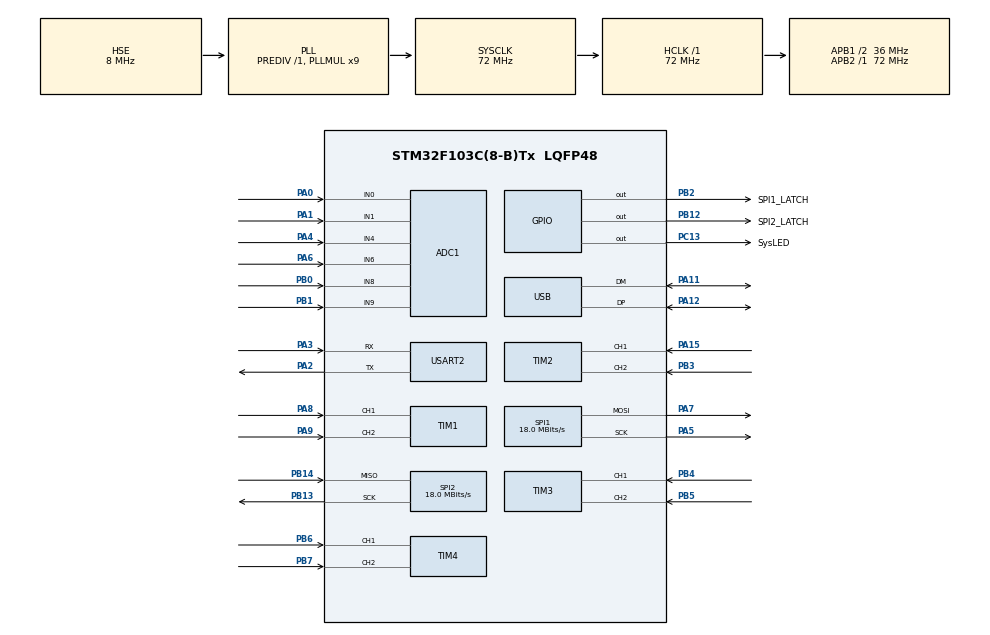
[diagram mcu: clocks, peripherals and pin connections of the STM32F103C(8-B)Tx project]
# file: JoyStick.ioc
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ADC1.Channel-0\#ChannelRegularConversion=ADC_CHANNEL_0
ADC1.Channel-1\#ChannelRegularConversion=ADC_CHANNEL_1
ADC1.Channel-2\#ChannelRegularConversion=ADC_CHANNEL_4
ADC1.Channel-3\#ChannelRegularConversion=ADC_CHANNEL_6
ADC1.Channel-4\#ChannelRegularConversion=ADC_CHANNEL_8
ADC1.Channel-5\#ChannelRegularConversion=ADC_CHANNEL_9
ADC1.ContinuousConvMode=ENABLE
ADC1.NbrOfConversion=6
ADC1.NbrOfConversionFlag=1
ADC1.Rank-0\#ChannelRegularConversion=1
ADC1.Rank-1\#ChannelRegularConversion=2
ADC1.Rank-2\#ChannelRegularConversion=3
ADC1.Rank-3\#ChannelRegularConversion=4
ADC1.Rank-4\#ChannelRegularConversion=5
ADC1.Rank-5\#ChannelRegularConversion=6
ADC1.SamplingTime-0\#ChannelRegularConversion=ADC_SAMPLETIME_41CYCLES_5
ADC1.SamplingTime-1\#ChannelRegularConversion=ADC_SAMPLETIME_41CYCLES_5
ADC1.SamplingTime-2\#ChannelRegularConversion=ADC_SAMPLETIME_41CYCLES_5
ADC1.SamplingTime-3\#ChannelRegularConversion=ADC_SAMPLETIME_41CYCLES_5
ADC1.SamplingTime-4\#ChannelRegularConversion=ADC_SAMPLETIME_41CYCLES_5
ADC1.SamplingTime-5\#ChannelRegularConversion=ADC_SAMPLETIME_41CYCLES_5
ADC1.master=1
Dma.ADC1.0.Direction=DMA_PERIPH_TO_MEMORY
Dma.ADC1.0.Instance=DMA1_Channel1
Dma.ADC1.0.MemDataAlignment=DMA_MDATAALIGN_HALFWORD
Dma.ADC1.0.MemInc=DMA_MINC_ENABLE
Dma.ADC1.0.Mode=DMA_NORMAL
Dma.ADC1.0.PeriphDataAlignment=DMA_PDATAALIGN_HALFWORD
Dma.ADC1.0.PeriphInc=DMA_PINC_DISABLE
Dma.ADC1.0.Priority=DMA_PRIORITY_LOW
Dma.Request0=ADC1
FREERTOS.Tasks01=defaultTask,24,128,StartDefaultTask,Default,NULL,Dynamic,NULL,NULL
FREERTOS.configUSE_NEWLIB_REENTRANT=1
Mcu.Family=STM32F1
Mcu.Name=STM32F103C(8-B)Tx
Mcu.Package=LQFP48
NVIC.ADC1_2_IRQn=true\:5\:0\:false\:false\:true\:true\:true\:true\:true
NVIC.DMA1_Channel1_IRQn=true\:5\:0\:false\:false\:true\:true\:false\:true\:true
NVIC.PriorityGroup=NVIC_PRIORITYGROUP_4
NVIC.USB_LP_CAN1_RX0_IRQn=true\:5\:0\:false\:false\:true\:true\:false\:true\:true
PA0-WKUP.Signal=ADCx_IN0
PA1.Signal=ADCx_IN1
PA11.Mode=Device
PA11.Signal=USB_DM
PA12.Mode=Device
PA12.Signal=USB_DP
PA13.Mode=Serial_Wire
PA13.Signal=SYS_JTMS-SWDIO
PA14.Mode=Serial_Wire
PA14.Signal=SYS_JTCK-SWCLK
PA15.Signal=S_TIM2_CH1_ETR
PA2.Mode=Asynchronous
PA2.Signal=USART2_TX
PA3.Mode=Asynchronous
PA3.Signal=USART2_RX
PA4.Signal=ADCx_IN4
PA5.Mode=TX_Only_Simplex_Unidirect_Master
PA5.Signal=SPI1_SCK
PA6.Signal=ADCx_IN6
PA7.Mode=TX_Only_Simplex_Unidirect_Master
PA7.Signal=SPI1_MOSI
PA8.Signal=S_TIM1_CH1
PA9.Signal=S_TIM1_CH2
PB0.Signal=ADCx_IN8
PB1.Signal=ADCx_IN9
PB12.GPIO_Label=SPI2_LATCH
PB12.GPIO_ModeDefaultOutputPP=GPIO_MODE_OUTPUT_PP
PB12.GPIO_PuPd=GPIO_PULLDOWN
PB12.GPIO_Speed=GPIO_SPEED_FREQ_HIGH
PB12.Signal=GPIO_Output
PB13.Mode=RX_Only_Simplex_Unidirect_Master
PB13.Signal=SPI2_SCK
PB14.Mode=RX_Only_Simplex_Unidirect_Master
PB14.Signal=SPI2_MISO
PB2.GPIO_Label=SPI1_LATCH
PB2.GPIO_PuPd=GPIO_PULLDOWN
PB2.GPIO_Speed=GPIO_SPEED_FREQ_HIGH
PB2.Signal=GPIO_Output
PB3.Signal=S_TIM2_CH2
PB4.Signal=S_TIM3_CH1
PB5.Signal=S_TIM3_CH2
PB6.Signal=S_TIM4_CH1
PB7.Signal=S_TIM4_CH2
PC13-TAMPER-RTC.GPIO_Label=SysLED
PC13-TAMPER-RTC.GPIO_ModeDefaultOutputPP=GPIO_MODE_OUTPUT_PP
PC13-TAMPER-RTC.GPIO_PuPd=GPIO_PULLDOWN
PC13-TAMPER-RTC.GPIO_Speed=GPIO_SPEED_FREQ_HIGH
PC13-TAMPER-RTC.Signal=GPIO_Output
PD0-OSC_IN.Mode=HSE-External-Oscillator
PD0-OSC_IN.Signal=RCC_OSC_IN
PD1-OSC_OUT.Mode=HSE-External-Oscillator
PD1-OSC_OUT.Signal=RCC_OSC_OUT
ProjectManager.HeapSize=0x200
ProjectManager.StackSize=0x400
ProjectManager.TargetToolchain=CMake
RCC.ADCPresc=RCC_ADCPCLK2_DIV6
RCC.AHBFreq_Value=72000000
RCC.APB1CLKDivider=RCC_HCLK_DIV2
RCC.APB1Freq_Value=36000000
RCC.APB1TimFreq_Value=72000000
RCC.APB2Freq_Value=72000000
RCC.APB2TimFreq_Value=72000000
RCC.HCLKFreq_Value=72000000
RCC.PLLMUL=RCC_PLL_MUL9
RCC.SYSCLKFreq_VALUE=72000000
RCC.SYSCLKSource=RCC_SYSCLKSOURCE_PLLCLK
RCC.USBFreq_Value=48000000
RCC.USBPrescaler=RCC_USBCLKSOURCE_PLL_DIV1_5
SH.ADCx_IN0.0=ADC1_IN0,IN0
SH.ADCx_IN1.0=ADC1_IN1,IN1
SH.ADCx_IN4.0=ADC1_IN4,IN4
SH.ADCx_IN6.0=ADC1_IN6,IN6
SH.ADCx_IN8.0=ADC1_IN8,IN8
SH.ADCx_IN9.0=ADC1_IN9,IN9
SH.S_TIM1_CH1.0=TIM1_CH1,Encoder_Interface
SH.S_TIM1_CH2.0=TIM1_CH2,Encoder_Interface
SH.S_TIM2_CH1_ETR.0=TIM2_CH1,Encoder_Interface
SH.S_TIM2_CH2.0=TIM2_CH2,Encoder_Interface
SH.S_TIM3_CH1.0=TIM3_CH1,Encoder_Interface
SH.S_TIM3_CH2.0=TIM3_CH2,Encoder_Interface
SH.S_TIM4_CH1.0=TIM4_CH1,Encoder_Interface
SH.S_TIM4_CH2.0=TIM4_CH2,Encoder_Interface
SPI1.BaudRatePrescaler=SPI_BAUDRATEPRESCALER_4
SPI1.CalculateBaudRate=18.0 MBits/s
SPI1.Direction=SPI_DIRECTION_2LINES
SPI1.Mode=SPI_MODE_MASTER
SPI1.VirtualType=VM_MASTER
SPI2.BaudRatePrescaler=SPI_BAUDRATEPRESCALER_2
SPI2.CalculateBaudRate=18.0 MBits/s
SPI2.Direction=SPI_DIRECTION_2LINES_RXONLY
SPI2.Mode=SPI_MODE_MASTER
SPI2.VirtualType=VM_MASTER
USART2.VirtualMode=VM_ASYNC
USB_DEVICE.CLASS_NAME_FS=CUSTOM_HID
USB_DEVICE.USBD_CUSTOMHID_OUTREPORT_BUF_SIZE=12
USB_DEVICE.USBD_CUSTOM_HID_REPORT_DESC_SIZE=40
USB_DEVICE.VirtualMode=CustomHid
USB_DEVICE.VirtualModeFS=Custom_Hid_FS
VP_FREERTOS_VS_CMSIS_V2.Mode=CMSIS_V2
VP_USB_DEVICE_VS_USB_DEVICE_CUSTOM_HID_FS.Mode=CUSTOM_HID_FS
board=custom

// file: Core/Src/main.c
/* USER CODE BEGIN Header */
/**
  ******************************************************************************
  * @file           : main.c
  * @brief          : Main program body
  ******************************************************************************
  * @attention
  *
  * Copyright (c) 2026 STMicroelectronics.
  * All rights reserved.
  *
  * This software is licensed under terms that can be found in the LICENSE file
  * in the root directory of this software component.
  * If no LICENSE file comes with this software, it is provided AS-IS.
  *
  ******************************************************************************
  */
/* USER CODE END Header */
#include "main.h"
#include "cmsis_os.h"
#include "adc.h"
#include "dma.h"
#include "spi.h"
#include "tim.h"
#include "usart.h"
#include "usb_device.h"
#include "gpio.h"

/* USER CODE BEGIN PV */
extern volatile uint8_t joystick_adc_ready;
/* USER CODE END PV */

void SystemClock_Config(void);
void MX_FREERTOS_Init(void);

int main(void)
{

  /* MCU Configuration--------------------------------------------------------*/

  /* Reset of all peripherals, Initializes the Flash interface and the Systick. */
  HAL_Init();

  /* Configure the system clock */
  SystemClock_Config();

  /* Initialize all configured peripherals */
  MX_GPIO_Init();
  MX_DMA_Init();
  MX_ADC1_Init();
  MX_SPI1_Init();
  MX_SPI2_Init();
  MX_TIM1_Init();
  MX_TIM2_Init();
  MX_TIM3_Init();
  MX_TIM4_Init();
  MX_USART2_UART_Init();
  /* USER CODE BEGIN 2 */
  /* Start ADC conversion with DMA */
  if (Joystick_ADC_Start() != HAL_OK)
  {
    Error_Handler();
  }

  /* Start all encoder timers */
  HAL_TIM_Encoder_Start(&htim1, TIM_CHANNEL_ALL);
  HAL_TIM_Encoder_Start(&htim2, TIM_CHANNEL_ALL);
  HAL_TIM_Encoder_Start(&htim3, TIM_CHANNEL_ALL);
  HAL_TIM_Encoder_Start(&htim4, TIM_CHANNEL_ALL);

  /* USB 须在 FreeRTOS 启动前初始化，确保主机可立即枚举设备 */
  MX_USB_DEVICE_Init();

  /* USER CODE END 2 */

  /* Init scheduler */
  osKernelInitialize();  /* Call init function for freertos objects (in cmsis_os2.c) */
  MX_FREERTOS_Init();

  /* Start scheduler */
  osKernelStart();

  /* We should never get here as control is now taken by the scheduler */

  /* USER CODE BEGIN WHILE */
  while (1)
  {
    /* This code will never execute after osKernelStart() */
  }
  /* USER CODE END WHILE */

}

void SystemClock_Config(void)
{
  RCC_OscInitTypeDef RCC_OscInitStruct = {0};
  RCC_ClkInitTypeDef RCC_ClkInitStruct = {0};
  RCC_PeriphCLKInitTypeDef PeriphClkInit = {0};

  /** Initializes the RCC Oscillators according to the specified parameters
  * in the RCC_OscInitTypeDef structure.
  */
  RCC_OscInitStruct.OscillatorType = RCC_OSCILLATORTYPE_HSE;
  RCC_OscInitStruct.HSEState = RCC_HSE_ON;
  RCC_OscInitStruct.HSEPredivValue = RCC_HSE_PREDIV_DIV1;
  RCC_OscInitStruct.HSIState = RCC_HSI_ON;
  RCC_OscInitStruct.PLL.PLLState = RCC_PLL_ON;
  RCC_OscInitStruct.PLL.PLLSource = RCC_PLLSOURCE_HSE;
  RCC_OscInitStruct.PLL.PLLMUL = RCC_PLL_MUL9;
  if (HAL_RCC_OscConfig(&RCC_OscInitStruct) != HAL_OK)
  {
    Error_Handler();
  }

  /** Initializes the CPU, AHB and APB buses clocks
  */
  RCC_ClkInitStruct.ClockType = RCC_CLOCKTYPE_HCLK|RCC_CLOCKTYPE_SYSCLK
                              |RCC_CLOCKTYPE_PCLK1|RCC_CLOCKTYPE_PCLK2;
  RCC_ClkInitStruct.SYSCLKSource = RCC_SYSCLKSOURCE_PLLCLK;
  RCC_ClkInitStruct.AHBCLKDivider = RCC_SYSCLK_DIV1;
  RCC_ClkInitStruct.APB1CLKDivider = RCC_HCLK_DIV2;
  RCC_ClkInitStruct.APB2CLKDivider = RCC_HCLK_DIV1;

  if (HAL_RCC_ClockConfig(&RCC_ClkInitStruct, FLASH_LATENCY_2) != HAL_OK)
  {
    Error_Handler();
  }
  PeriphClkInit.PeriphClockSelection = RCC_PERIPHCLK_ADC|RCC_PERIPHCLK_USB;
  PeriphClkInit.AdcClockSelection = RCC_ADCPCLK2_DIV6;
  PeriphClkInit.UsbClockSelection = RCC_USBCLKSOURCE_PLL_DIV1_5;
  if (HAL_RCCEx_PeriphCLKConfig(&PeriphClkInit) != HAL_OK)
  {
    Error_Handler();
  }
}

void Error_Handler(void)
{
  __disable_irq();
  while (1)
  {
  }
}

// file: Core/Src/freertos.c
/* USER CODE BEGIN Header */
/**
  ******************************************************************************
  * File Name          : freertos.c
  * Description        : Code for freertos applications
  ******************************************************************************
  * @attention
  *
  * Copyright (c) 2026 STMicroelectronics.
  * All rights reserved.
  *
  * This software is licensed under terms that can be found in the LICENSE file
  * in the root directory of this software component.
  * If no LICENSE file comes with this software, it is provided AS-IS.
  *
  ******************************************************************************
  */
/* USER CODE END Header */

#include "FreeRTOS.h"
#include "task.h"
#include "main.h"
#include "cmsis_os.h"

/* USER CODE BEGIN Includes */
#include "joystick_rtos.h"
#include "adc.h"
#include "spi.h"
#include "tim.h"
#include "usbd_def.h"
/* USER CODE END Includes */

/* USER CODE BEGIN Variables */

/* Queue Handles */
osMessageQueueId_t adcQueueHandle = NULL;
osMessageQueueId_t encoderQueueHandle = NULL;
osMessageQueueId_t buttonQueueHandle = NULL;
osMessageQueueId_t ledQueueHandle = NULL;

/* Thread Handles */
osThreadId_t adcTaskHandle = NULL;
osThreadId_t encoderTaskHandle = NULL;
osThreadId_t buttonTaskHandle = NULL;
osThreadId_t ledTaskHandle = NULL;
osThreadId_t hidTaskHandle = NULL;

/* USER CODE END Variables */
/* Definitions for defaultTask */
osThreadId_t defaultTaskHandle;
const osThreadAttr_t defaultTask_attributes = {
  .name = "defaultTask",
  .stack_size = 128 * 4,
  .priority = (osPriority_t) osPriorityNormal,
};

/* Definitions for ADC Task */
const osThreadAttr_t adcTask_attributes = {
  .name = "ADC",
  .stack_size = ADC_TASK_STACK_SIZE * 4,
  .priority = (osPriority_t) ADC_TASK_PRIORITY,
};

/* Definitions for Encoder Task */
const osThreadAttr_t encoderTask_attributes = {
  .name = "Encoder",
  .stack_size = ENCODER_TASK_STACK_SIZE * 4,
  .priority = (osPriority_t) ENCODER_TASK_PRIORITY,
};

/* Definitions for Button Task */
const osThreadAttr_t buttonTask_attributes = {
  .name = "Button",
  .stack_size = BUTTON_TASK_STACK_SIZE * 4,
  .priority = (osPriority_t) BUTTON_TASK_PRIORITY,
};

/* Definitions for LED Task */
const osThreadAttr_t ledTask_attributes = {
  .name = "LED",
  .stack_size = LED_TASK_STACK_SIZE * 4,
  .priority = (osPriority_t) LED_TASK_PRIORITY,
};

/* Definitions for HID Task */
const osThreadAttr_t hidTask_attributes = {
  .name = "HID",
  .stack_size = HID_TASK_STACK_SIZE * 4,
  .priority = (osPriority_t) HID_TASK_PRIORITY,
};

void StartDefaultTask(void *argument);
void AdcTask(void *argument);
void EncoderTask(void *argument);
void ButtonTask(void *argument);
void LedTask(void *argument);
void HidTask(void *argument);

void MX_FREERTOS_Init(void); /* (MISRA C 2004 rule 8.1) */

void MX_FREERTOS_Init(void) {

  /* USER CODE BEGIN RTOS_QUEUES */
  /* Create queues */
  adcQueueHandle = osMessageQueueNew(4, sizeof(AdcData_t), NULL);
  encoderQueueHandle = osMessageQueueNew(4, sizeof(EncoderData_t), NULL);
  buttonQueueHandle = osMessageQueueNew(4, sizeof(ButtonData_t), NULL);
  ledQueueHandle = osMessageQueueNew(4, sizeof(LedData_t), NULL);
  if ((adcQueueHandle == NULL) || (encoderQueueHandle == NULL) ||
      (buttonQueueHandle == NULL) || (ledQueueHandle == NULL))
  {
    Error_Handler();
  }
  /* USER CODE END RTOS_QUEUES */

  /* Create the thread(s) */
  defaultTaskHandle = osThreadNew(StartDefaultTask, NULL, &defaultTask_attributes);
  if (defaultTaskHandle == NULL)
  {
    Error_Handler();
  }

  /* USER CODE BEGIN RTOS_THREADS */
  /* Create joystick tasks */
  adcTaskHandle = osThreadNew(AdcTask, NULL, &adcTask_attributes);
  encoderTaskHandle = osThreadNew(EncoderTask, NULL, &encoderTask_attributes);
  buttonTaskHandle = osThreadNew(ButtonTask, NULL, &buttonTask_attributes);
  ledTaskHandle = osThreadNew(LedTask, NULL, &ledTask_attributes);
  hidTaskHandle = osThreadNew(HidTask, NULL, &hidTask_attributes);
  /* 非关键任务创建失败不阻塞启动，USB 已在 main 中初始化 */
  /* USER CODE END RTOS_THREADS */

}

void StartDefaultTask(void *argument)
{
  /* USER CODE BEGIN StartDefaultTask */
  for(;;)
  {
    HAL_GPIO_TogglePin(SysLED_GPIO_Port, SysLED_Pin);
    osDelay(500);
  }
  /* USER CODE END StartDefaultTask */
}

/* ============================================================================
 * ADC Task Implementation
 * ========================================================================== */
/**
  * @brief  ADC Conversion Task
  * Continuously reads ADC values and sends them to the ADC queue
  */
void AdcTask(void *argument)
{
  AdcData_t adcData;
  uint8_t retry;

  for(;;)
  {
    osDelay(ADC_TASK_DELAY);

    for (uint8_t i = 0; i < 6; i++)
    {
      adcData.channels[i] = joystick_adc_raw[i];
    }

    Joystick_PackHidReport();

    for (retry = 0U; retry < 5U; retry++)
    {
      if (Joystick_TransmitHidReport() != USBD_BUSY)
      {
        break;
      }
      osDelay(1);
    }

    osMessageQueuePut(adcQueueHandle, &adcData, 0, 0);
  }
}

/* ============================================================================
 * Encoder Task Implementation
 * ========================================================================== */
/**
  * @brief  Encoder Reading Task
  * Reads all encoder counter values and sends them to the encoder queue
  */
void EncoderTask(void *argument)
{
  EncoderData_t encoderData;

  for(;;)
  {
    osDelay(ENCODER_TASK_DELAY);

    /* Read encoder count from TIM1, TIM2, TIM3, TIM4 */
    encoderData.encoders[0] = __HAL_TIM_GET_COUNTER(&htim1);
    encoderData.encoders[1] = __HAL_TIM_GET_COUNTER(&htim2);
    encoderData.encoders[2] = __HAL_TIM_GET_COUNTER(&htim3);
    encoderData.encoders[3] = __HAL_TIM_GET_COUNTER(&htim4);

    /* Send encoder data to queue */
    osMessageQueuePut(encoderQueueHandle, &encoderData, 0, 0);
  }
}

/* ============================================================================
 * Button Task Implementation
 * ========================================================================== */
/**
  * @brief  Button Reading Task
  * Reads button states from SPI2 connected 74HC165 shift registers
  */
void ButtonTask(void *argument)
{
  ButtonData_t buttonData;
  uint8_t rxBuffer[3] = {0};

  for(;;)
  {
    osDelay(BUTTON_TASK_DELAY);

    /* Read 3 bytes from SPI2 (74HC165 parallel-to-serial converter)
     * PB12 is the latch pin for SPI2
     */

    /* Latch the input data */
    HAL_GPIO_WritePin(SPI2_LATCH_GPIO_Port, SPI2_LATCH_Pin, GPIO_PIN_RESET);
    osDelay(1);
    HAL_GPIO_WritePin(SPI2_LATCH_GPIO_Port, SPI2_LATCH_Pin, GPIO_PIN_SET);
    osDelay(1);

    /* Read button states via SPI2 (3 bytes = 24 buttons) */
    if (HAL_SPI_Receive(&hspi2, rxBuffer, 3, 100) == HAL_OK)
    {
      buttonData.states[0] = rxBuffer[0];
      buttonData.states[1] = rxBuffer[1];
      buttonData.states[2] = rxBuffer[2];

      /* Send button data to queue */
      osMessageQueuePut(buttonQueueHandle, &buttonData, 0, 0);
    }
  }
}

/* ============================================================================
 * LED Task Implementation
 * ========================================================================== */
/**
  * @brief  LED Control Task
  * Receives LED control data from queue and drives 74HC595 shift registers via SPI1
  */
void LedTask(void *argument)
{
  LedData_t ledData;
  uint32_t flags;

  for(;;)
  {
    /* Wait for LED data from the queue (with timeout) */
    flags = osMessageQueueGet(ledQueueHandle, &ledData, NULL, osWaitForever);

    if (flags == osOK)
    {
      /* Write LED states via SPI1 (3 bytes = 24 LEDs)
       * PB2 is the latch pin (RCLK) for SPI1
       */

      /* Send 3 bytes via SPI1 to 74HC595 shift registers */
      if (HAL_SPI_Transmit(&hspi1, (uint8_t *)ledData.states, 3, 100) == HAL_OK)
      {
        /* Latch the data on 74HC595 */
        osDelay(1);
        HAL_GPIO_WritePin(SPI1_LATCH_GPIO_Port, SPI1_LATCH_Pin, GPIO_PIN_RESET);
        osDelay(1);
        HAL_GPIO_WritePin(SPI1_LATCH_GPIO_Port, SPI1_LATCH_Pin, GPIO_PIN_SET);
      }
    }
  }
}

/* ============================================================================
 * HID Task Implementation
 * ========================================================================== */
/**
  * @brief  HID Communication Task
  * Aggregates data from all queues and sends HID reports
  * Also receives LED control data from HID and forwards to LED queue
  */
void HidTask(void *argument)
{
  for(;;)
  {
    /* HID 报文由 AdcTask 打包并发送，此任务预留给后续编码器/按键上报 */
    osDelay(HID_TASK_DELAY);
  }
}
